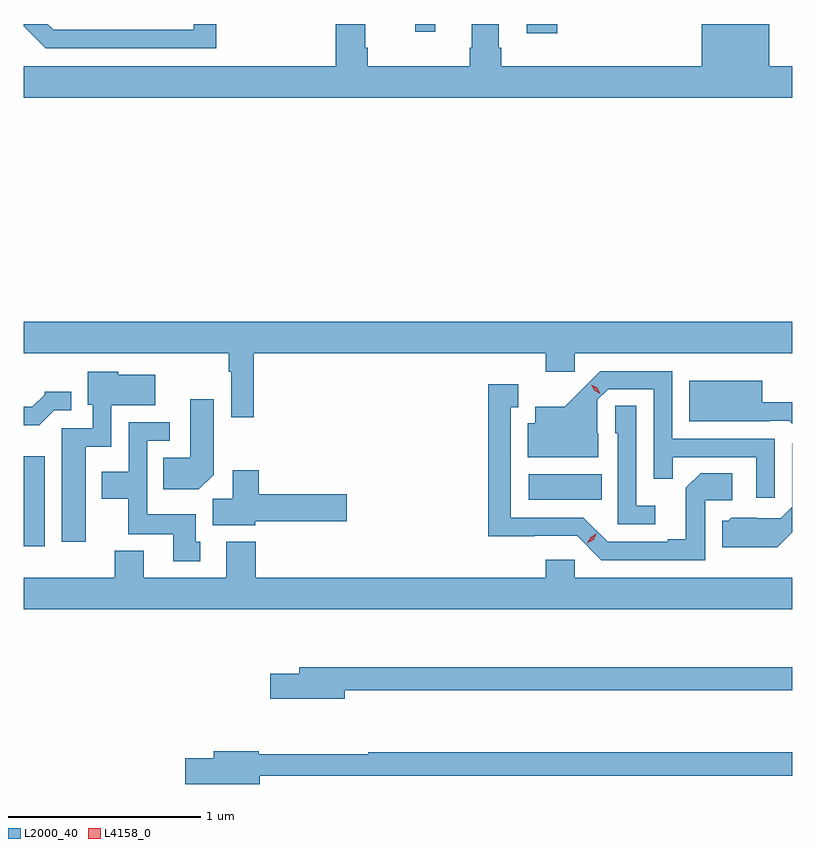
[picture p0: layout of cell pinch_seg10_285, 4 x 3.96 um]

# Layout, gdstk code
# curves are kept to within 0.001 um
import gdstk
lib = gdstk.Library(unit=1e-6, precision=1e-09)
def R(c, l, rs):  # rectangles x0, y0, x1, y1
    for r in rs: c.add(gdstk.rectangle(r[:2], r[2:], *l))
def P(c, l, *ps):  # polygons
    for p in ps: c.add(gdstk.Polygon(p, *l))
L2000_40 = (2000, 40)
L4158_0 = (4158, 0)

pinch_seg10_285 = lib.new_cell('pinch_seg10_285')
R(pinch_seg10_285, L2000_40, [(483.732,1304.64,483.841,1305.109), (486.36,1304.882,486.74,1305.016), (486.35,1307.31,486.509,1307.359), (485.77,1307.319,485.873,1307.359)])
P(pinch_seg10_285, L2000_40, [(487.732,1307.14),(487.612,1307.14),(487.612,1307.359),(487.262,1307.359),(487.262,1307.14),(486.218,1307.14),(486.218,1307.236),(486.205,1307.236),(486.205,1307.359),(486.065,1307.359),(486.065,1307.236),(486.053,1307.236),(486.053,1307.14),(485.522,1307.14),(485.522,1307.236),(485.509,1307.236),(485.509,1307.359),(485.357,1307.359),(485.357,1307.14),(483.732,1307.14),(483.732,1306.976),(487.732,1306.976)],
  [(484.733,1307.359),(484.617,1307.359),(484.617,1307.328),(483.888,1307.328),(483.857,1307.359),(483.732,1307.359),(483.732,1307.346),(483.846,1307.232),(484.733,1307.232)],
  [(483.732,1305.644),(484.8,1305.644),(484.8,1305.548),(484.812,1305.548),(484.812,1305.312),(484.928,1305.312),(484.928,1305.644),(486.449,1305.644),(486.449,1305.549),(486.6,1305.549),(486.6,1305.644),(487.732,1305.644),(487.732,1305.808),(483.732,1305.808)],
  [(487.641,1305.201),(487.107,1305.201),(487.107,1305.552),(486.734,1305.552),(486.547,1305.367),(486.395,1305.367),(486.395,1305.28),(486.356,1305.28),(486.356,1305.104),(486.721,1305.104),(486.721,1305.228),(486.717,1305.228),(486.717,1305.402),(486.774,1305.459),(487.011,1305.459),(487.011,1304.992),(487.109,1304.992),(487.109,1305.105),(487.545,1305.105),(487.545,1304.892),(487.641,1304.892)],
  [(484.054,1305.158),(484.188,1305.158),(484.188,1305.374),(484.417,1305.374),(484.417,1305.532),(484.224,1305.532),(484.224,1305.55),(484.064,1305.55),(484.064,1305.378),(484.092,1305.378),(484.092,1305.255),(483.929,1305.255),(483.929,1304.664),(484.054,1304.664)],
  [(487.732,1305.391),(487.576,1305.391),(487.576,1305.502),(487.196,1305.502),(487.196,1305.29),(487.616,1305.29),(487.616,1305.294),(487.716,1305.294),(487.732,1305.278)],
  [(487.278,1304.88),(487.42,1304.88),(487.42,1305.02),(487.255,1305.02),(487.179,1304.944),(487.179,1304.677),(487.085,1304.677),(487.085,1304.664),(486.771,1304.664),(486.645,1304.79),(486.268,1304.79),(486.268,1305.363),(486.307,1305.363),(486.307,1305.484),(486.15,1305.484),(486.15,1304.693),(486.612,1304.694),(486.738,1304.568),(487.278,1304.568)],
  [(483.891,1305.348),(483.979,1305.348),(483.979,1305.445),(483.84,1305.445),(483.84,1305.43),(483.776,1305.366),(483.732,1305.366),(483.732,1305.27),(483.813,1305.27)],
  [(484.72,1305.014),(484.72,1305.406),(484.598,1305.406),(484.598,1305.1),(484.459,1305.1),(484.459,1304.936),(484.642,1304.936)],
  [(487.018,1304.851),(486.921,1304.851),(486.921,1305.371),(486.81,1305.371),(486.81,1305.228),(486.825,1305.228),(486.825,1304.754),(487.018,1304.754)],
  [(484.651,1304.664),(484.627,1304.664),(484.627,1304.806),(484.374,1304.806),(484.374,1305.189),(484.492,1305.189),(484.492,1305.285),(484.278,1305.285),(484.278,1305.028),(484.139,1305.028),(484.139,1304.888),(484.276,1304.888),(484.276,1304.702),(484.511,1304.702),(484.511,1304.562),(484.651,1304.562)],
  [(487.732,1304.714),(487.732,1305.176),(487.731,1305.176),(487.731,1304.847),(487.671,1304.787),(487.548,1304.787),(487.548,1304.788),(487.414,1304.788),(487.398,1304.772),(487.367,1304.772),(487.367,1304.636),(487.655,1304.636)],
  [(484.938,1304.77),(485.413,1304.77),(485.413,1304.912),(484.955,1304.912),(484.955,1305.037),(484.82,1305.037),(484.82,1304.888),(484.715,1304.888),(484.715,1304.75),(484.938,1304.75)],
  [(487.732,1304.476),(486.6,1304.476),(486.6,1304.569),(486.449,1304.569),(486.449,1304.476),(484.94,1304.476),(484.94,1304.665),(484.787,1304.665),(484.787,1304.476),(484.357,1304.476),(484.357,1304.617),(484.205,1304.617),(484.205,1304.476),(483.732,1304.476),(483.732,1304.312),(487.732,1304.312)],
  [(485.404,1303.89),(487.732,1303.89),(487.732,1304.011),(485.165,1304.011),(485.165,1303.977),(485.016,1303.977),(485.016,1303.847),(485.404,1303.847)],
  [(484.96,1303.446),(487.732,1303.446),(487.732,1303.567),(485.525,1303.567),(485.525,1303.559),(484.956,1303.559),(484.956,1303.574),(484.721,1303.574),(484.721,1303.538),(484.572,1303.538),(484.572,1303.403),(484.96,1303.403)])
P(pinch_seg10_285, L4158_0, [(486.733,1305.435),(486.703,1305.45),(486.685,1305.48),(486.685,1305.48),(486.686,1305.48),(486.716,1305.465),(486.734,1305.435),(486.734,1305.435)],
  [(486.664,1304.656),(486.664,1304.656),(486.682,1304.688),(486.714,1304.707),(486.714,1304.707),(486.714,1304.707),(486.697,1304.675),(486.665,1304.656)])

lib.write_gds('pinch_seg10_285.gds')
